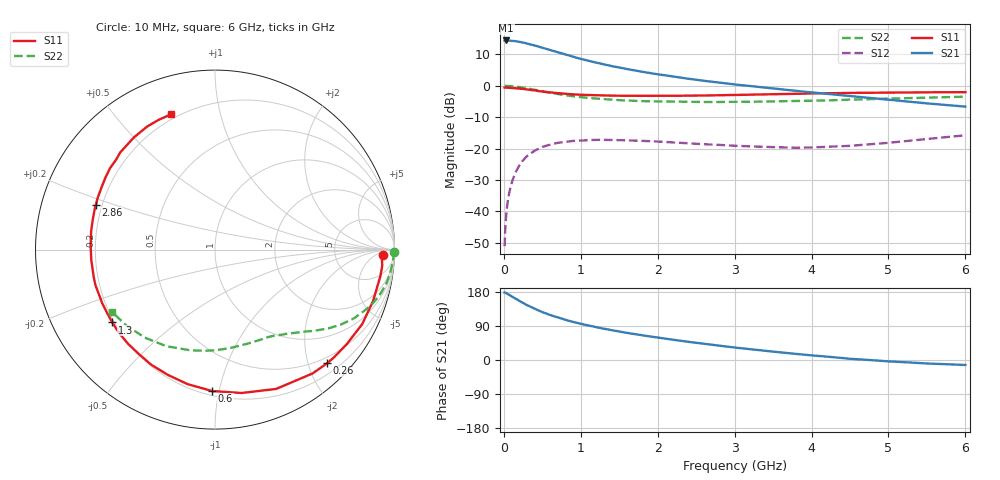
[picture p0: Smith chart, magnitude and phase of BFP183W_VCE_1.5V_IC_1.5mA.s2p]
! Infineon Technologies  Discrete & RF Semiconductors
! BFP183W
! VCE = 1.5 V,  IC =  1.5 mA
! Common Emitter S-Parameters:  Jan 2016
# GHz  S  MA  R  50
!  f  S11  S21  S12  S22
! GHz  MAG  ANG  MAG  ANG  MAG  ANG  MAG  ANG
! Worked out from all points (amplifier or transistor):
!   210 points, 10 MHz to 6 GHz, reference 50 ohm
!   highest |S21| = 14.4 dB at 30 MHz (marker M1)
!   |S21| within 3 dB of that: start of sweep to 597.2 MHz
!   unconditionally stable (mu >= 1): 2.483 GHz to end of sweep
!   at 185 MHz: K = 0.08, MSG = 20.1 dB, |S12| = -26.1 dB
!   at 1.52 GHz: K = 0.61, MSG = 11.5 dB, |S12| = -17.3 dB
!   at 6 GHz: K = 1.11, MAG = 2.5 dB, |S12| = -15.8 dB
!   S11 on the Smith chart (normalised r, x): 10 MHz: 24, -12; 260 MHz: 0.38, -2.34; 600 MHz: 0.23, -0.95; 1.3 GHz: 0.19, -0.31; 2.86 GHz: 0.18, +0.18; 6 GHz: 0.18, +0.71
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0.01  0.9341 -1.9  5.225 178.1  0.0028 88.2  0.9985 -0.8
0.02  0.9326 -3.8  5.252 177.7  0.0057 84.3  0.9924 -1.5
0.03  0.936 -5.5  5.269 176.6  0.0086 88.0  0.9959 -2.3
0.055  0.9316 -10.0  5.246 173.5  0.0156 83.0  0.9924 -4.2
0.105  0.9244 -18.9  5.193 167.4  0.0292 78.4  0.9838 -7.9
0.15  0.9193 -26.8  5.137 161.8  0.0412 74.1  0.9732 -11.2
0.2  0.9036 -35.6  5.012 155.9  0.0535 69.1  0.9558 -14.6
0.26  0.8896 -45.4  4.85 149.6  0.0672 63.3  0.931 -18.5
0.3  0.8784 -51.8  4.713 145.0  0.0756 59.9  0.9123 -20.9
0.4  0.8477 -66.3  4.393 135.3  0.0926 51.7  0.865 -26.2
0.5  0.8126 -79.5  4.042 126.4  0.1065 44.8  0.8191 -30.5
0.6  0.788 -91.2  3.722 118.9  0.116 38.7  0.7763 -34.2
0.8  0.7458 -110.7  3.141 106.0  0.1285 29.5  0.7074 -39.9
1.02  0.7182 -127.4  2.644 94.6  0.1353 21.7  0.6553 -44.8
1.3  0.7018 -144.7  2.195 82.5  0.1377 14.4  0.6123 -50.1
1.6  0.6932 -159.3  1.85 71.5  0.1353 9.4  0.5833 -55.2
2.02  0.6915 -175.7  1.513 58.6  0.1292 4.9  0.5627 -62.8
2.86  0.7092 159.5  1.102 36.5  0.1136 3.6  0.5533 -79.0
3.1  0.7175 153.4  1.021 30.8  0.1097 5.0  0.5557 -84.0
4.1  0.7579 132.6  0.765 10.6  0.1056 17.2  0.5812 -107.1
5.1  0.7834 117.7  0.585 -4.6  0.1273 28.9  0.63 -130.8
6  0.7924 108.2  0.466 -13.2  0.1631 32.0  0.671 -148.9
